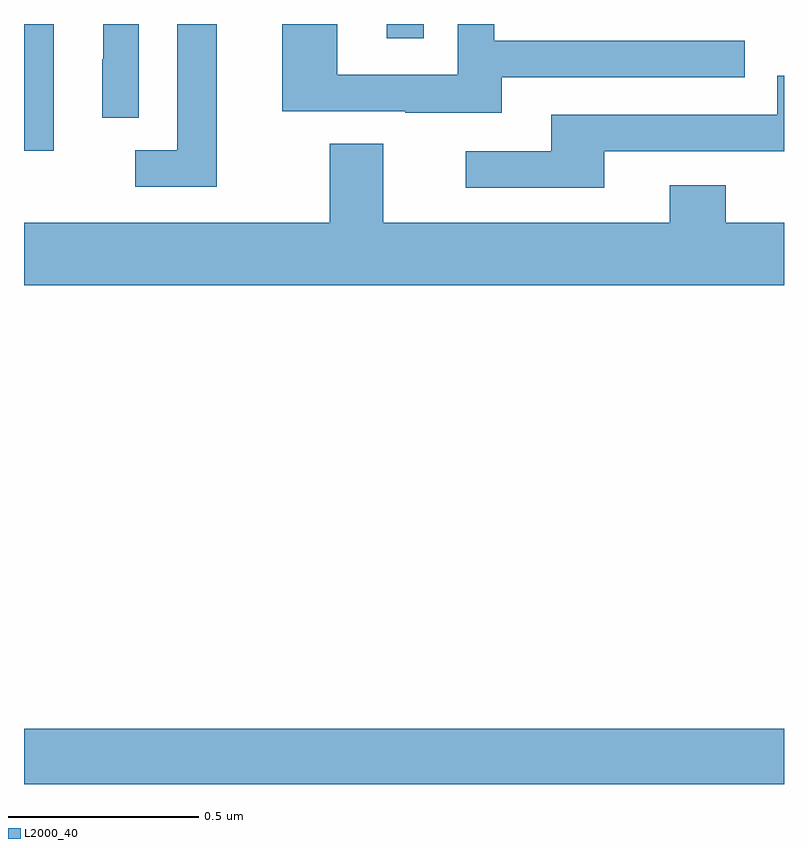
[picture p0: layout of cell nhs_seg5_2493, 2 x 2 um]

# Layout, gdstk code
import gdstk
lib = gdstk.Library(unit=1e-6, precision=1e-09)
def R(c, l, rs):  # rectangles x0, y0, x1, y1
    for r in rs: c.add(gdstk.rectangle(r[:2], r[2:], *l))
def P(c, l, *ps):  # polygons
    for p in ps: c.add(gdstk.Polygon(p, *l))
L2000_40 = (2000, 40)

nhs_seg5_2493 = lib.new_cell('nhs_seg5_2493')
R(nhs_seg5_2493, L2000_40, [(145,836.799,147,836.944), (145,838.466,145.078,838.799), (145.955,838.761,146.052,838.799)])
P(nhs_seg5_2493, L2000_40, [(146.257,838.659),(146.897,838.659),(146.897,838.755),(146.238,838.755),(146.238,838.799),(146.142,838.799),(146.142,838.665),(145.824,838.665),(145.824,838.799),(145.679,838.799),(145.679,838.569),(146.003,838.569),(146.003,838.565),(146.257,838.565)],
  [(145.507,838.799),(145.403,838.799),(145.403,838.467),(145.293,838.467),(145.293,838.371),(145.507,838.371)],
  [(145.302,838.799),(145.208,838.799),(145.208,838.706),(145.206,838.706),(145.206,838.552),(145.302,838.552)],
  [(146.527,838.464),(147,838.464),(147,838.663),(146.982,838.663),(146.982,838.56),(146.387,838.56),(146.387,838.464),(146.163,838.464),(146.163,838.368),(146.527,838.368)],
  [(147,838.276),(146.847,838.276),(146.847,838.375),(146.699,838.375),(146.699,838.276),(145.945,838.276),(145.945,838.484),(145.805,838.484),(145.805,838.276),(145,838.276),(145,838.112),(147,838.112)])

lib.write_gds('nhs_seg5_2493.gds')
